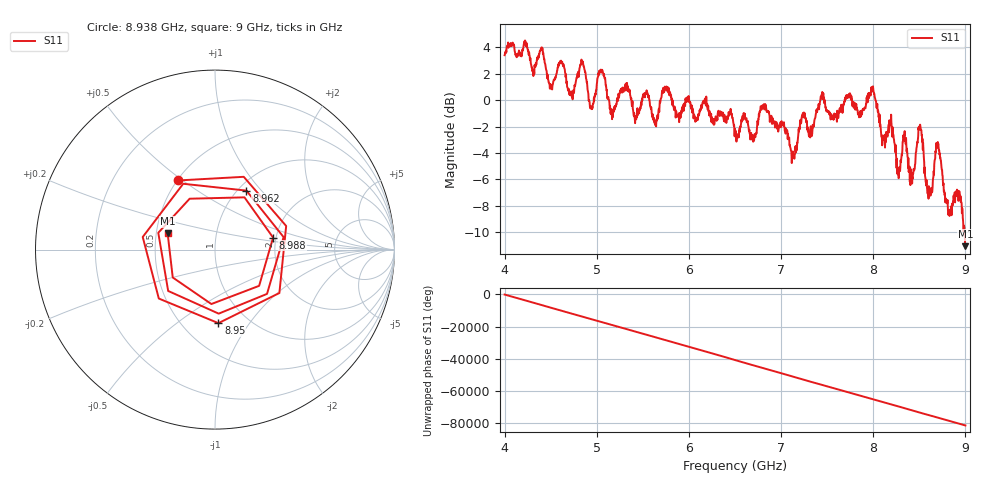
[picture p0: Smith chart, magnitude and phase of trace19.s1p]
! Created with skrf 1.8.0 (http://scikit-rf.org).
# Hz S RI R 50.0
!freq ReS11 ImS11
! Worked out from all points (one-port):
!   1601 points, 4 GHz to 9 GHz, reference 50 ohm
!   lowest |S11| = -11.1 dB at 9 GHz (marker M1), VSWR 1.77, Z = 28.7 + j5.66 ohm
!   |S11| at or under -10 dB: 8.991402 GHz to end of sweep
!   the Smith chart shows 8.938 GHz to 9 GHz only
!   S11 on the Smith chart (normalised r, x): 8.938 GHz: 0.50, +0.48; 8.95 GHz: 0.74, -0.73; 8.962 GHz: 1.09, +0.83; 8.988 GHz: 1.93, +0.29; 9 GHz: 0.57, +0.11
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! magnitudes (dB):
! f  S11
! 4 GHz  3.4
! 4.503 GHz  0.9
! 4.625 GHz  2.9
! 4.725 GHz  0.4
! 4.847 GHz  2.8
! 4.938 GHz  -0.6
! 5.044 GHz  2.3
! 5.162 GHz  -0.7
! 5.25 GHz  0.6
! 5.875 GHz  -1.1
! 6.5 GHz  -2.2
! 6.816 GHz  -0.4
! 7.125 GHz  -4.0
! 7.441 GHz  0.4
! 7.75 GHz  0.4
! 7.997 GHz  1.1
! 8.272 GHz  -5.3
! 8.375 GHz  -4.4
! 8.428 GHz  -5.9
! 8.509 GHz  -1.9
! 8.597 GHz  -7.0
! 8.7 GHz  -3.2
! 8.816 GHz  -8.7
! 8.938 GHz  -7.2
! 8.95 GHz  -7.7
! 8.962 GHz  -8.6
! 8.988 GHz  -9.6
! 9 GHz  -11.1
